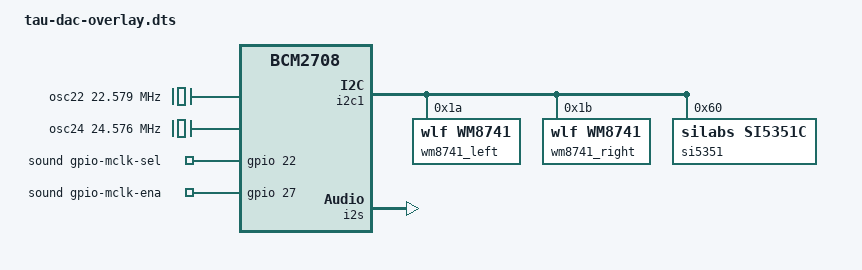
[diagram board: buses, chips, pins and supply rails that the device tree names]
// Definitions for TauDAC
/dts-v1/;
/plugin/;

/ {
	compatible = "brcm,bcm2708";
	
	fragment@0 {
		target = <&gpio>;
		__overlay__ {
			
			tau_dac_pins: tau_dac_pins {
				brcm,pins = <22 27>;
				brcm,function = <1>;
				brcm,pull = <0>;
			};
		};
	};
	
	fragment@1 {
		target-path = "/clocks";
		__overlay__ {

			xtal: xtal {
				compatible = "fixed-clock";
				#clock-cells = <0>;
				clock-frequency = <0>; /* not mounted */
			};

			osc22: osc22 {
				compatible = "fixed-clock";
				#clock-cells = <0>;
				clock-frequency = <22579200>;
			};

			osc24: osc24 {
				compatible = "fixed-clock";
				#clock-cells = <0>;
				clock-frequency = <24576000>;
			};
			
			mux: multiplexer {
				compatible = "gpio-mux-clock";
				clocks = <&osc22>, <&osc24>;
				#clock-cells = <0>;
				select-gpios = <&gpio 22 0>;
			};

			mclk: clkgate {
				compatible = "gpio-gate-clock";
				clocks = <&mux>;
				#clock-cells = <0>;
				enable-gpios = <&gpio 27 0>;
			};
		};
	};
	
	fragment@2 {
		target = <&i2c1>;
		__overlay__ {
			#address-cells = <1>;
			#size-cells = <0>;
			status = "okay";

			wm8741_left: wm8741@1a {
				#sound-dai-cells = <0>;
				compatible = "wlf,wm8741";
				reg = <0x1a>;
				diff-mode = <1>;
				status = "okay";
			};

			wm8741_right: wm8741@1b {
				#sound-dai-cells = <0>;
				compatible = "wlf,wm8741";
				reg = <0x1b>;
				diff-mode = <3>;
				status = "okay";
			};

			si5351: si5351c@60 {
				#address-cells = <1>;
				#size-cells = <0>;
				#clock-cells = <1>;
				compatible = "silabs,si5351c";
				reg = <0x60>;
				clocks = <&xtal>, <&mclk>;
				clock-names = "xtal", "clkin";
				status = "okay";

				clkout0 {
					reg = <0>;
					silabs,disable-state = <2>;
					silabs,clock-source = <3>;
				};

				clkout1 {
					reg = <1>;
					silabs,disable-state = <0>;
				};

				clkout2 {
					reg = <2>;
					silabs,disable-state = <2>;
					silabs,clock-source = <3>;
				};

				clkout3 {
					reg = <3>;
					silabs,disable-state = <2>;
					silabs,clock-source = <3>;
				};

				clkout4 {
					reg = <4>;
					silabs,disable-state = <0>;
				};

				clkout5 {
					reg = <5>;
					silabs,disable-state = <2>;
					silabs,clock-source = <3>;
				};

				clkout6 {
					reg = <6>;
					silabs,disable-state = <2>;
					silabs,clock-source = <3>;
				};

				clkout7 {
					reg = <7>;
					silabs,disable-state = <2>;
					silabs,clock-source = <3>;
				};
			};
		};
	};

	fragment@3 {
		target = <&sound>;
		__overlay__ {
			compatible = "singularity-audio,tau-dac";
			tau-dac,card-name = "TauDAC V1.0";
			i2s-controller = <&i2s>;
			
			pinctrl-names = "default";
			pinctrl-0 = <&tau_dac_pins>;
			gpio-mclk-sel = <&gpio 22 0>;
			gpio-mclk-ena = <&gpio 27 0>;

			clocks      = <&osc24>,
			              <&osc22>,
			              <&si5351 7>, 
			              <&si5351 3>, 
			              <&si5351 5>,
			              <&si5351 0>,
			              <&si5351 2>, 
			              <&si5351 6>;
			clock-names = "mclk24",
			              "mclk22",
			              "bclk-cpu",  
			              "bclk-dacl",  
			              "bclk-dacr",
			              "lrclk-cpu", 
			              "lrclk-dacl", 
			              "lrclk-dacr";

			codecs = <&wm8741_left>, <&wm8741_right>;
			status = "okay";
		};
	};

	fragment@4 {
		target = <&i2s>;
		__overlay__ {
			status = "okay";
		};
	};
};
